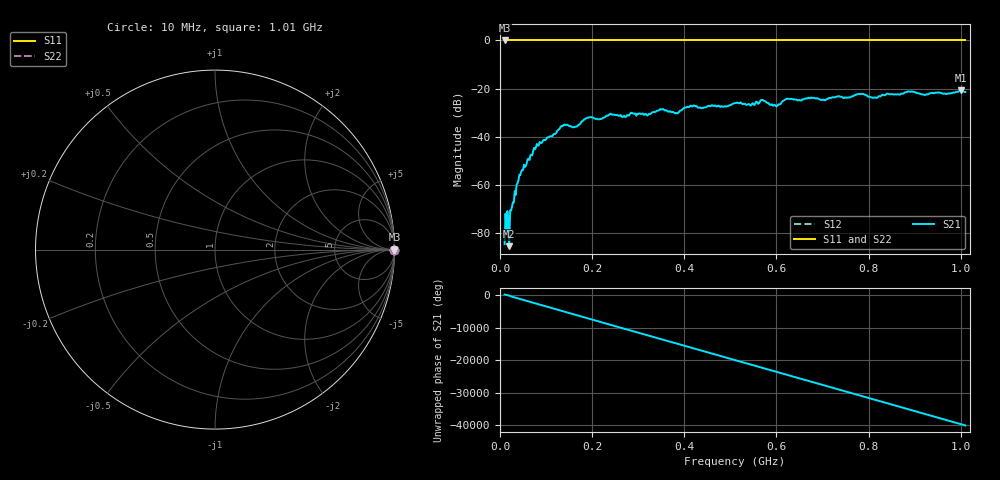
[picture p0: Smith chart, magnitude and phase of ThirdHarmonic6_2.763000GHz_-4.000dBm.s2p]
! 8/17/2025 6:58:54 AM
! C:\ANRITSUVNA\TEMP\TEMP.S2P
! CHANNEL.1
! TR.MEASUREMENT
! RAW.DATA
! RF.CORRECTION.OFF
! AVERAGING.OFF
! IF.BANDWIDTH: 5KHZ
! SWEEPTYPE:  FREQ.SWEEP(Linear)
! Reference Plane Port Info
! PORT:  PORT1  PORT2
! DISTANCE:  0  m  0  m
! TIME:  0  s  0  s
! PHASE.OFFSET:  0  deg.  0  deg.
! LOSS:  0  dB  0  dB
! REF.LOSS:  0  dB  0  dB
! REF.FREQ:  0  Hz  0  Hz
! Power Info
! POWER:  -20  dBm  -20  dBm
! EFF.POWER:  -20  dBm  -20  dBm
! SOURCE.ATTEN:  0  dB  0  dB
! TEST.ATTEN:  0  dB  0  dB
# GHZ S RI R 50.0
! FREQ.GHZ  S11RE  S11IM  S21RE  S21IM  S12RE  S12IM  S22RE  S22IM
!; PortSelection: Port_12
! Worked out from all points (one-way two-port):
!   501 points, 10 MHz to 1.01 GHz, reference 50 ohm
!   highest |S21| = -20.79 dB at 1 GHz (marker M1); lowest = -85.5 dB at 20 MHz (marker M2)
!   lowest |S11| = 0.0 dB at 10 MHz (marker M3)
!   |S11| at or under -10 dB: nowhere
!   |S22| runs from 0.0 to 0.0 dB; largest |S21 - S12| = 1.1
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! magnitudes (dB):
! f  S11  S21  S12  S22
! 10 MHz  0.0  -84.6  0.0  0.0
! 20 MHz  0.0  -85.5  0.0  0.0
! 44 MHz  0.0  -55.9  0.0  0.0
! 76 MHz  0.0  -45.2  0.0  0.0
! 136 MHz  0.0  -35.6  0.0  0.0
! 162 MHz  0.0  -36.0  0.0  0.0
! 178 MHz  0.0  -33.6  0.0  0.0
! 194 MHz  0.0  -32.0  0.0  0.0
! 322 MHz  0.0  -30.8  0.0  0.0
! 344 MHz  0.0  -29.1  0.0  0.0
! 384 MHz  0.0  -30.3  0.0  0.0
! 416 MHz  0.0  -27.4  0.0  0.0
! 510 MHz  0.0  -26.1  0.0  0.0
! 548 MHz  0.0  -26.1  0.0  0.0
! 570 MHz  0.0  -24.7  0.0  0.0
! 598 MHz  0.0  -27.1  0.0  0.0
! 622 MHz  0.0  -24.2  0.0  0.0
! 678 MHz  0.0  -23.9  0.0  0.0
! 814 MHz  0.0  -23.7  0.0  0.0
! 844 MHz  0.0  -22.3  0.0  0.0
! 1 GHz  0.0  -20.8  0.0  0.0
! 1.01 GHz  0.0  -21.4  0.0  0.0
